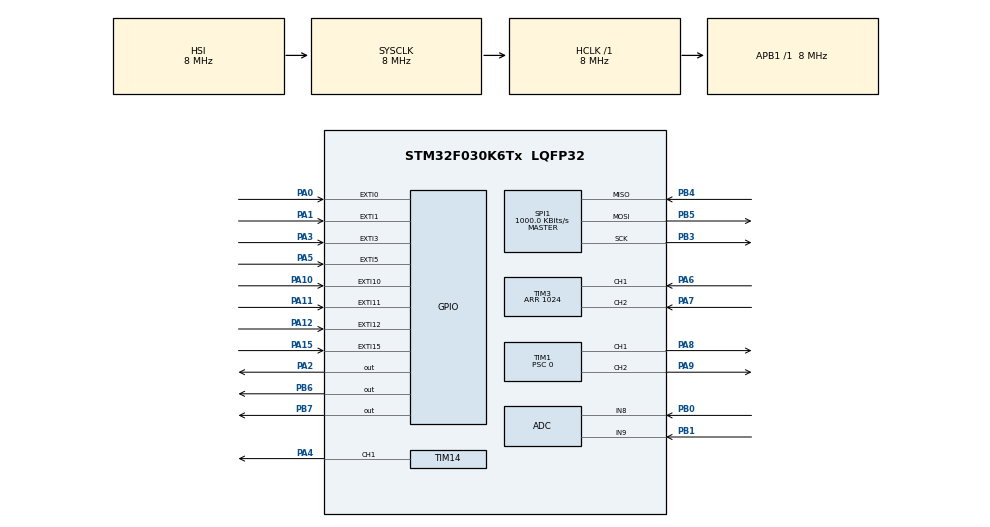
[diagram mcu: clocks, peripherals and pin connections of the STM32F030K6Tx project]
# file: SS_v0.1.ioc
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ADC.ContinuousConvMode=DISABLE
ADC.DiscontinuousConvMode=DISABLE
ADC.SamplingTime=ADC_SAMPLETIME_71CYCLES_5
Dma.ADC.0.Direction=DMA_PERIPH_TO_MEMORY
Dma.ADC.0.Instance=DMA1_Channel1
Dma.ADC.0.MemDataAlignment=DMA_MDATAALIGN_WORD
Dma.ADC.0.MemInc=DMA_MINC_ENABLE
Dma.ADC.0.Mode=DMA_NORMAL
Dma.ADC.0.PeriphDataAlignment=DMA_PDATAALIGN_WORD
Dma.ADC.0.PeriphInc=DMA_PINC_DISABLE
Dma.ADC.0.Priority=DMA_PRIORITY_LOW
Dma.Request0=ADC
Mcu.Family=STM32F0
Mcu.Name=STM32F030K6Tx
Mcu.Package=LQFP32
NVIC.DMA1_Channel1_IRQn=true\:0\:0\:false\:false\:true\:false\:true
NVIC.EXTI0_1_IRQn=true\:0\:0\:false\:false\:true\:true\:true
NVIC.EXTI2_3_IRQn=true\:0\:0\:false\:false\:true\:true\:true
NVIC.EXTI4_15_IRQn=true\:0\:0\:false\:false\:true\:true\:true
NVIC.TIM14_IRQn=true\:0\:0\:false\:false\:true\:true\:true
NVIC.TIM1_CC_IRQn=true\:0\:0\:false\:false\:true\:true\:true
PA0.GPIO_ModeDefaultEXTI=GPIO_MODE_IT_RISING
PA0.Signal=GPXTI0
PA1.GPIO_PuPd=GPIO_PULLUP
PA1.Signal=GPXTI1
PA10.GPIO_PuPd=GPIO_PULLUP
PA10.Signal=GPXTI10
PA11.Signal=GPXTI11
PA12.Signal=GPXTI12
PA13.Mode=Serial_Wire
PA13.Signal=SYS_SWDIO
PA14.Mode=Serial_Wire
PA14.Signal=SYS_SWCLK
PA15.GPIO_PuPd=GPIO_PULLUP
PA15.Signal=GPXTI15
PA2.Signal=GPIO_Output
PA3.Signal=GPXTI3
PA4.Signal=S_TIM14_CH1
PA5.Signal=GPXTI5
PA6.Signal=S_TIM3_CH1
PA7.Signal=S_TIM3_CH2
PA8.Signal=S_TIM1_CH1
PA9.Signal=S_TIM1_CH2
PB0.Mode=IN8
PB0.Signal=ADC_IN8
PB1.Mode=IN9
PB1.Signal=ADC_IN9
PB3.Mode=Full_Duplex_Master
PB3.Signal=SPI1_SCK
PB4.Mode=Full_Duplex_Master
PB4.Signal=SPI1_MISO
PB5.Mode=Full_Duplex_Master
PB5.Signal=SPI1_MOSI
PB6.Signal=GPIO_Output
PB7.Signal=GPIO_Output
PF0-OSC_IN.Mode=HSE-External-Oscillator
PF0-OSC_IN.Signal=RCC_OSC_IN
PF1-OSC_OUT.Mode=HSE-External-Oscillator
PF1-OSC_OUT.Signal=RCC_OSC_OUT
ProjectManager.HeapSize=0x200
ProjectManager.StackSize=0x400
ProjectManager.TargetToolchain=TrueSTUDIO
RCC.AHBFreq_Value=8000000
RCC.APB1Freq_Value=8000000
RCC.APB1TimFreq_Value=8000000
RCC.HCLKFreq_Value=8000000
RCC.PLLSourceVirtual=RCC_PLLSOURCE_HSE
RCC.SYSCLKFreq_VALUE=8000000
SH.S_TIM14_CH1.0=TIM14_CH1,PWM Generation1 CH1
SH.S_TIM1_CH1.0=TIM1_CH1,PWM Generation1 CH1
SH.S_TIM1_CH2.0=TIM1_CH2,PWM Generation2 CH2
SH.S_TIM3_CH1.0=TIM3_CH1,Encoder_Interface
SH.S_TIM3_CH2.0=TIM3_CH2,Encoder_Interface
SPI1.BaudRatePrescaler=SPI_BAUDRATEPRESCALER_8
SPI1.CLKPhase=SPI_PHASE_2EDGE
SPI1.CalculateBaudRate=1000.0 KBits/s
SPI1.DataSize=SPI_DATASIZE_8BIT
SPI1.Direction=SPI_DIRECTION_2LINES
SPI1.Mode=SPI_MODE_MASTER
SPI1.VirtualType=VM_MASTER
TIM1.Channel-PWM\ Generation1\ CH1=TIM_CHANNEL_1
TIM1.Channel-PWM\ Generation2\ CH2=TIM_CHANNEL_2
TIM1.Channel-PWM\ Generation3\ No\ Output=TIM_CHANNEL_3
TIM1.ClockDivision=TIM_CLOCKDIVISION_DIV4
TIM1.Period=20000
TIM1.Prescaler=0
TIM1.Pulse-PWM\ Generation1\ CH1=10000
TIM1.Pulse-PWM\ Generation2\ CH2=10000
TIM14.Channel=TIM_CHANNEL_1
TIM14.ClockDivision=TIM_CLOCKDIVISION_DIV1
TIM14.OCMode_PWM=TIM_OCMODE_PWM2
TIM14.Period=20000
TIM14.Prescaler=4
TIM14.Pulse=10
TIM3.Period=1024
VP_ADC_TempSens_Input.Mode=IN-TempSens
VP_RTC_VS_RTC_Activate.Mode=RTC_Enabled
VP_RTC_VS_RTC_Calendar.Mode=RTC_Calendar
VP_TIM14_VS_ClockSourceINT.Mode=Enable_Timer
VP_TIM14_VS_OPM.Mode=OPM_bit
VP_TIM1_VS_no_output3.Mode=PWM Generation3 No Output
board=custom

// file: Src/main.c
/* USER CODE BEGIN Header */
/**
  ******************************************************************************
  * @file           : main.c
  * @brief          : Main program body
  ******************************************************************************
  ** This notice applies to any and all portions of this file
  * that are not between comment pairs USER CODE BEGIN and
  * USER CODE END. Other portions of this file, whether
  * inserted by the user or by software development tools
  * are owned by their respective copyright owners.
  *
  * COPYRIGHT(c) 2019 STMicroelectronics
  *
  * Redistribution and use in source and binary forms, with or without modification,
  * are permitted provided that the following conditions are met:
  *   1. Redistributions of source code must retain the above copyright notice,
  *      this list of conditions and the following disclaimer.
  *   2. Redistributions in binary form must reproduce the above copyright notice,
  *      this list of conditions and the following disclaimer in the documentation
  *      and/or other materials provided with the distribution.
  *   3. Neither the name of STMicroelectronics nor the names of its contributors
  *      may be used to endorse or promote products derived from this software
  *      without specific prior written permission.
  *
  * THIS SOFTWARE IS PROVIDED BY THE COPYRIGHT HOLDERS AND CONTRIBUTORS "AS IS"
  * AND ANY EXPRESS OR IMPLIED WARRANTIES, INCLUDING, BUT NOT LIMITED TO, THE
  * IMPLIED WARRANTIES OF MERCHANTABILITY AND FITNESS FOR A PARTICULAR PURPOSE ARE
  * DISCLAIMED. IN NO EVENT SHALL THE COPYRIGHT HOLDER OR CONTRIBUTORS BE LIABLE
  * FOR ANY DIRECT, INDIRECT, INCIDENTAL, SPECIAL, EXEMPLARY, OR CONSEQUENTIAL
  * DAMAGES (INCLUDING, BUT NOT LIMITED TO, PROCUREMENT OF SUBSTITUTE GOODS OR
  * SERVICES; LOSS OF USE, DATA, OR PROFITS; OR BUSINESS INTERRUPTION) HOWEVER
  * CAUSED AND ON ANY THEORY OF LIABILITY, WHETHER IN CONTRACT, STRICT LIABILITY,
  * OR TORT (INCLUDING NEGLIGENCE OR OTHERWISE) ARISING IN ANY WAY OUT OF THE USE
  * OF THIS SOFTWARE, EVEN IF ADVISED OF THE POSSIBILITY OF SUCH DAMAGE.
  *
  ******************************************************************************
  */
/* USER CODE END Header */

#include "main.h"

/* USER CODE BEGIN Includes */
//#include <st7920.h>
//#include "arm_math.h"
#include "pid.h"
#include "encoder.h"
#include "RTCfunc.h"
#include <U8g2.h>
#include <u8g2_arm.h>
#include <stdlib.h>
/* USER CODE END Includes */

/* USER CODE BEGIN PD */
#define		debug				1

#define		ZCD_Pin				GPIO_PIN_3
#define		FenRelePort			GPIOA
#define		FenRelePin			GPIO_PIN_2

#define		DimmerTim			htim14
#define		DimmerTimCh			TIM_CHANNEL_1
#define		FenFanPWM_T			htim1
#define		FenFanPWM_ch		TIM_CHANNEL_2
#define		SolderPWM_T			htim1
#define		SolderPWM_ch		TIM_CHANNEL_1

#define		EncoderTimer		htim3
#define		EncoderButton_Port	GPIOA
#define		EncoderButton_Pin	GPIO_PIN_5

#define		Gerkon_Port			GPIOA
#define		Gerkon_Pin			GPIO_PIN_12
#define		Button1_Pin			GPIO_PIN_10
#define		Button2_Pin			GPIO_PIN_1
#define		Button3_Pin			GPIO_PIN_15
#define		RollBall_Pin		GPIO_PIN_0
#define 	Lcd_CS				GPIOB, GPIO_PIN_6

//#define		SolderMod			0
//#define		FenMod				1
//#define		FenFanMod			2
#define		Off					0
#define		On					1

/* USER CODE END PD */

ADC_HandleTypeDef hadc;
DMA_HandleTypeDef hdma_adc;

RTC_HandleTypeDef hrtc;

SPI_HandleTypeDef hspi1;

TIM_HandleTypeDef htim1;
TIM_HandleTypeDef htim3;
TIM_HandleTypeDef htim14;

/* USER CODE BEGIN PV */
u8g2_t u8g2;
EncoderTypeDef enc0;
RTC_TimePointTypeDef Point[4]={0};

typedef enum
{
	OFF = 0U,
    ON
}StateType;

typedef enum {
	SolderMod,
	FenMod,
	FenFanMod,
	SpecMod
}WorkModType ,WorkMod1;
typedef struct
{
	uint16_t		Nadc[16];
	//uint16_t		Uadc[16];			//millivolts from ADC
	uint16_t		Text[16];			//from external measurementp;

}ThermocoupleCalibrationTypeDef;

ThermocoupleCalibrationTypeDef	ThermocoupleProfile[8];

#define		RollBall_IE	0x01
#define		Gerkon_IE	0x10

struct {
	//0000 0001		solder 	RollBall
	//0001 0000		fen 	Gerkon
	uint8_t		IE;
	WorkModType WorkMod;
	uint8_t		Step;
	uint8_t		MoveDetect;
	ThermocoupleCalibrationTypeDef	*ThermocoupleProfile;
	int32_t 	CPUtemperature;
}Station;

uint8_t	Profile;
int16_t SMtemp;

typedef struct
{
	uint8_t 			Status;
	uint8_t				GerkonStatus;
	uint8_t				DimerStatus;
	uint16_t 			DimmerValue;
	uint8_t 			T_Measured;
	int16_t 			T_Set;
	uint16_t			T_Max;
	uint8_t 			T_Min;
	uint8_t 			T_FanOff;
	uint8_t 			MaxPower;			//Max power limit, [%]
	uint16_t 			CalibrPoint0;
	uint16_t 			CalibrPoint1;
	uint8_t				error;
	TIM_HandleTypeDef	*htim;
	uint32_t 			Channel;
}ChannelTypeDef;

typedef struct
{
	uint8_t 			Status;
	int16_t 			P_Set;
	uint8_t				P_Max;
	uint8_t 			P_Min;
	uint8_t				error;
	TIM_HandleTypeDef	*htim;
	uint32_t 			Channel;
	uint16_t			FanStep;
}FanTypeDef;

typedef struct
{
	uint8_t 			Status;
	uint8_t 			T_Measured;
	int16_t 			T_Set;
	uint16_t			T_Max;
	uint8_t 			T_Min;
	uint8_t				error;
	TIM_HandleTypeDef	*htim;
	uint32_t 			Channel;
	uint8_t				MaxPower;
}SolderTypeDef;

SolderTypeDef 	Solder;
ChannelTypeDef 	Fen;
FanTypeDef 		FenFan;

struct
{
	uint32_t		buffer[30];
	uint8_t			bufferCaunt;
	float			step;
	uint32_t		Sfen;
	uint32_t		Ssolder;
	uint32_t		Ssensor;

}ADCData;

//int16_t T_Fen_Set=0;
//int16_t T_Solder_Set=0;
//int16_t FenFanSpid=0;
//
//uint8_t SolderTMin = 0;			//C
//uint16_t SolderTMax = 350;		//C
//uint8_t FenTMin = 0;			//C
//uint16_t FenTMax = 450;			//C
//uint8_t FenFanSpidMin = 0; 	//%
//uint8_t FenFanSpidMax = 100;	//%
//uint8_t Step = 5;
//uint16_t FanStep = 0;

//uint8_t 	WorkMod =0;

//uint16_t 	DimmerValue=0;
//uint8_t 	FenStatus = 0;
//uint8_t 	FenFanStatus =0,
uint8_t	FanSpeedMax=3,FanOff=0;
//uint16_t 	testValue=0;
uint8_t		CountForButton = 0;

//uint16_t 	adc_value[3];
//uint16_t 	Tsrns;
//float 		adc_step=3.3/4095;
//uint16_t	tempArr[256],calibr[30];
//uint8_t		i = 0;
//uint8_t		EncoderButtonPushed = 0;
//uint8_t		CalibrCount;

uint8_t DispleiMod =0;
char buffer[12];
uint16_t i=250 ,x=120, y=0;
/* USER CODE END PV */

void SystemClock_Config(void);
static void MX_GPIO_Init(void);
static void MX_DMA_Init(void);
static void MX_ADC_Init(void);
static void MX_TIM1_Init(void);
static void MX_TIM3_Init(void);
static void MX_TIM14_Init(void);
static void MX_SPI1_Init(void);
static void MX_RTC_Init(void);
/* USER CODE BEGIN PFP */
void SetValue(int16_t T);
void PID_Fen();
void PID_Solder();
void DimmerControl(ChannelTypeDef* ChStrct);
void ZCD_Handler();
void test();
void SolderControl(SolderTypeDef* solder);
//uint16_t TimePointCompare(RTC_TimePointTypeDef *point0, RTC_TimePointTypeDef *point1);
void FanControl(uint8_t status);

void StationConfig ();
void ErrorControl();
uint16_t temp01();
void Srednie();
void displaiInit();
void MoweDetect();
void InactivityDetect ();
void adc_to_t();
/* USER CODE END PFP */

int main(void)
{

  /* MCU Configuration--------------------------------------------------------*/

  /* Reset of all peripherals, Initializes the Flash interface and the Systick. */
  HAL_Init();

  /* Configure the system clock */
  SystemClock_Config();

  /* Initialize all configured peripherals */
  MX_GPIO_Init();
  MX_DMA_Init();
  MX_ADC_Init();
  MX_TIM1_Init();
  MX_TIM3_Init();
  MX_TIM14_Init();
  MX_SPI1_Init();
  MX_RTC_Init();
  /* USER CODE BEGIN 2 */
//lcd init
  StationConfig ();

  u8g2_SPI_Set(&hspi1, Lcd_CS);
  u8g2_Setup_st7920_s_128x64_2(&u8g2, U8G2_R0, u8xx_byte_hw_spi, u8xx_stm32_gpio_and_delay);
  u8g2_InitDisplay(&u8g2);
//
  HAL_TIM_Encoder_Start_IT(&htim3,TIM_CHANNEL_ALL);	//start timet in encoder mod + intrrupt
  HAL_TIM_PWM_Start_IT(&SolderPWM_T, TIM_CHANNEL_3);
  //arm_pid_f32();

  /* USER CODE END 2 */

  /* Infinite loop */
  while (1)
  {

    /* USER CODE BEGIN 3 */
	  //ErrorControl();
	  SetValue(encoder(&enc0) * Station.Step);
	  if(enc0.Difference != 0)
		  MoweDetect();
	  InactivityDetect ();

	  if(Station.WorkMod != SpecMod) test();
	  adc_to_t();
	  displaiInit();

  }
  /* USER CODE END 3 */
}

void SystemClock_Config(void)
{
  RCC_OscInitTypeDef RCC_OscInitStruct = {0};
  RCC_ClkInitTypeDef RCC_ClkInitStruct = {0};
  RCC_PeriphCLKInitTypeDef PeriphClkInit = {0};

  /** Initializes the CPU, AHB and APB busses clocks
  */
  RCC_OscInitStruct.OscillatorType = RCC_OSCILLATORTYPE_HSI|RCC_OSCILLATORTYPE_HSI14
                              |RCC_OSCILLATORTYPE_LSI;
  RCC_OscInitStruct.HSIState = RCC_HSI_ON;
  RCC_OscInitStruct.HSI14State = RCC_HSI14_ON;
  RCC_OscInitStruct.HSICalibrationValue = RCC_HSICALIBRATION_DEFAULT;
  RCC_OscInitStruct.HSI14CalibrationValue = 16;
  RCC_OscInitStruct.LSIState = RCC_LSI_ON;
  RCC_OscInitStruct.PLL.PLLState = RCC_PLL_NONE;
  if (HAL_RCC_OscConfig(&RCC_OscInitStruct) != HAL_OK)
  {
    Error_Handler();
  }
  /** Initializes the CPU, AHB and APB busses clocks
  */
  RCC_ClkInitStruct.ClockType = RCC_CLOCKTYPE_HCLK|RCC_CLOCKTYPE_SYSCLK
                              |RCC_CLOCKTYPE_PCLK1;
  RCC_ClkInitStruct.SYSCLKSource = RCC_SYSCLKSOURCE_HSI;
  RCC_ClkInitStruct.AHBCLKDivider = RCC_SYSCLK_DIV1;
  RCC_ClkInitStruct.APB1CLKDivider = RCC_HCLK_DIV1;

  if (HAL_RCC_ClockConfig(&RCC_ClkInitStruct, FLASH_LATENCY_0) != HAL_OK)
  {
    Error_Handler();
  }
  PeriphClkInit.PeriphClockSelection = RCC_PERIPHCLK_RTC;
  PeriphClkInit.RTCClockSelection = RCC_RTCCLKSOURCE_LSI;
  if (HAL_RCCEx_PeriphCLKConfig(&PeriphClkInit) != HAL_OK)
  {
    Error_Handler();
  }
}

static void MX_ADC_Init(void)
{

  ADC_ChannelConfTypeDef sConfig = {0};

  /** Configure the global features of the ADC (Clock, Resolution, Data Alignment and number of conversion)
  */
  hadc.Instance = ADC1;
  hadc.Init.ClockPrescaler = ADC_CLOCK_ASYNC_DIV1;
  hadc.Init.Resolution = ADC_RESOLUTION_12B;
  hadc.Init.DataAlign = ADC_DATAALIGN_RIGHT;
  hadc.Init.ScanConvMode = ADC_SCAN_DIRECTION_FORWARD;
  hadc.Init.EOCSelection = ADC_EOC_SINGLE_CONV;
  hadc.Init.LowPowerAutoWait = DISABLE;
  hadc.Init.LowPowerAutoPowerOff = DISABLE;
  hadc.Init.ContinuousConvMode = DISABLE;
  hadc.Init.DiscontinuousConvMode = DISABLE;
  hadc.Init.ExternalTrigConv = ADC_SOFTWARE_START;
  hadc.Init.ExternalTrigConvEdge = ADC_EXTERNALTRIGCONVEDGE_NONE;
  hadc.Init.DMAContinuousRequests = DISABLE;
  hadc.Init.Overrun = ADC_OVR_DATA_PRESERVED;
  if (HAL_ADC_Init(&hadc) != HAL_OK)
  {
    Error_Handler();
  }
  /** Configure for the selected ADC regular channel to be converted.
  */
  sConfig.Channel = ADC_CHANNEL_8;
  sConfig.Rank = ADC_RANK_CHANNEL_NUMBER;
  sConfig.SamplingTime = ADC_SAMPLETIME_71CYCLES_5;
  if (HAL_ADC_ConfigChannel(&hadc, &sConfig) != HAL_OK)
  {
    Error_Handler();
  }
  /** Configure for the selected ADC regular channel to be converted.
  */
  sConfig.Channel = ADC_CHANNEL_9;
  if (HAL_ADC_ConfigChannel(&hadc, &sConfig) != HAL_OK)
  {
    Error_Handler();
  }
  /** Configure for the selected ADC regular channel to be converted.
  */
  sConfig.Channel = ADC_CHANNEL_TEMPSENSOR;
  if (HAL_ADC_ConfigChannel(&hadc, &sConfig) != HAL_OK)
  {
    Error_Handler();
  }

}

static void MX_RTC_Init(void)
{

  RTC_TimeTypeDef sTime = {0};
  RTC_DateTypeDef sDate = {0};

  /** Initialize RTC Only
  */
  hrtc.Instance = RTC;
  hrtc.Init.HourFormat = RTC_HOURFORMAT_24;
  hrtc.Init.AsynchPrediv = 127;
  hrtc.Init.SynchPrediv = 255;
  hrtc.Init.OutPut = RTC_OUTPUT_DISABLE;
  hrtc.Init.OutPutPolarity = RTC_OUTPUT_POLARITY_HIGH;
  hrtc.Init.OutPutType = RTC_OUTPUT_TYPE_OPENDRAIN;
  if (HAL_RTC_Init(&hrtc) != HAL_OK)
  {
    Error_Handler();
  }

  /** Initialize RTC and set the Time and Date
  */
  sTime.Hours = 0x0;
  sTime.Minutes = 0x0;
  sTime.Seconds = 0x0;
  sTime.DayLightSaving = RTC_DAYLIGHTSAVING_NONE;
  sTime.StoreOperation = RTC_STOREOPERATION_RESET;
  if (HAL_RTC_SetTime(&hrtc, &sTime, RTC_FORMAT_BCD) != HAL_OK)
  {
    Error_Handler();
  }
  sDate.WeekDay = RTC_WEEKDAY_MONDAY;
  sDate.Month = RTC_MONTH_JANUARY;
  sDate.Date = 0x1;
  sDate.Year = 0x0;

  if (HAL_RTC_SetDate(&hrtc, &sDate, RTC_FORMAT_BCD) != HAL_OK)
  {
    Error_Handler();
  }

}

static void MX_SPI1_Init(void)
{

  /* SPI1 parameter configuration*/
  hspi1.Instance = SPI1;
  hspi1.Init.Mode = SPI_MODE_MASTER;
  hspi1.Init.Direction = SPI_DIRECTION_2LINES;
  hspi1.Init.DataSize = SPI_DATASIZE_8BIT;
  hspi1.Init.CLKPolarity = SPI_POLARITY_LOW;
  hspi1.Init.CLKPhase = SPI_PHASE_2EDGE;
  hspi1.Init.NSS = SPI_NSS_SOFT;
  hspi1.Init.BaudRatePrescaler = SPI_BAUDRATEPRESCALER_8;
  hspi1.Init.FirstBit = SPI_FIRSTBIT_MSB;
  hspi1.Init.TIMode = SPI_TIMODE_DISABLE;
  hspi1.Init.CRCCalculation = SPI_CRCCALCULATION_DISABLE;
  hspi1.Init.CRCPolynomial = 7;
  hspi1.Init.CRCLength = SPI_CRC_LENGTH_DATASIZE;
  hspi1.Init.NSSPMode = SPI_NSS_PULSE_DISABLE;
  if (HAL_SPI_Init(&hspi1) != HAL_OK)
  {
    Error_Handler();
  }

}

static void MX_TIM1_Init(void)
{

  TIM_MasterConfigTypeDef sMasterConfig = {0};
  TIM_OC_InitTypeDef sConfigOC = {0};
  TIM_BreakDeadTimeConfigTypeDef sBreakDeadTimeConfig = {0};

  htim1.Instance = TIM1;
  htim1.Init.Prescaler = 0;
  htim1.Init.CounterMode = TIM_COUNTERMODE_UP;
  htim1.Init.Period = 20000;
  htim1.Init.ClockDivision = TIM_CLOCKDIVISION_DIV4;
  htim1.Init.RepetitionCounter = 0;
  htim1.Init.AutoReloadPreload = TIM_AUTORELOAD_PRELOAD_DISABLE;
  if (HAL_TIM_PWM_Init(&htim1) != HAL_OK)
  {
    Error_Handler();
  }
  sMasterConfig.MasterOutputTrigger = TIM_TRGO_RESET;
  sMasterConfig.MasterSlaveMode = TIM_MASTERSLAVEMODE_DISABLE;
  if (HAL_TIMEx_MasterConfigSynchronization(&htim1, &sMasterConfig) != HAL_OK)
  {
    Error_Handler();
  }
  sConfigOC.OCMode = TIM_OCMODE_PWM1;
  sConfigOC.Pulse = 10000;
  sConfigOC.OCPolarity = TIM_OCPOLARITY_HIGH;
  sConfigOC.OCNPolarity = TIM_OCNPOLARITY_HIGH;
  sConfigOC.OCFastMode = TIM_OCFAST_DISABLE;
  sConfigOC.OCIdleState = TIM_OCIDLESTATE_RESET;
  sConfigOC.OCNIdleState = TIM_OCNIDLESTATE_RESET;
  if (HAL_TIM_PWM_ConfigChannel(&htim1, &sConfigOC, TIM_CHANNEL_1) != HAL_OK)
  {
    Error_Handler();
  }
  if (HAL_TIM_PWM_ConfigChannel(&htim1, &sConfigOC, TIM_CHANNEL_2) != HAL_OK)
  {
    Error_Handler();
  }
  sConfigOC.Pulse = 0;
  if (HAL_TIM_PWM_ConfigChannel(&htim1, &sConfigOC, TIM_CHANNEL_3) != HAL_OK)
  {
    Error_Handler();
  }
  sBreakDeadTimeConfig.OffStateRunMode = TIM_OSSR_DISABLE;
  sBreakDeadTimeConfig.OffStateIDLEMode = TIM_OSSI_DISABLE;
  sBreakDeadTimeConfig.LockLevel = TIM_LOCKLEVEL_OFF;
  sBreakDeadTimeConfig.DeadTime = 0;
  sBreakDeadTimeConfig.BreakState = TIM_BREAK_DISABLE;
  sBreakDeadTimeConfig.BreakPolarity = TIM_BREAKPOLARITY_HIGH;
  sBreakDeadTimeConfig.AutomaticOutput = TIM_AUTOMATICOUTPUT_DISABLE;
  if (HAL_TIMEx_ConfigBreakDeadTime(&htim1, &sBreakDeadTimeConfig) != HAL_OK)
  {
    Error_Handler();
  }
  HAL_TIM_MspPostInit(&htim1);

}

static void MX_TIM3_Init(void)
{

  TIM_Encoder_InitTypeDef sConfig = {0};
  TIM_MasterConfigTypeDef sMasterConfig = {0};

  htim3.Instance = TIM3;
  htim3.Init.Prescaler = 0;
  htim3.Init.CounterMode = TIM_COUNTERMODE_UP;
  htim3.Init.Period = 1024;
  htim3.Init.ClockDivision = TIM_CLOCKDIVISION_DIV1;
  htim3.Init.AutoReloadPreload = TIM_AUTORELOAD_PRELOAD_DISABLE;
  sConfig.EncoderMode = TIM_ENCODERMODE_TI1;
  sConfig.IC1Polarity = TIM_ICPOLARITY_RISING;
  sConfig.IC1Selection = TIM_ICSELECTION_DIRECTTI;
  sConfig.IC1Prescaler = TIM_ICPSC_DIV1;
  sConfig.IC1Filter = 0;
  sConfig.IC2Polarity = TIM_ICPOLARITY_RISING;
  sConfig.IC2Selection = TIM_ICSELECTION_DIRECTTI;
  sConfig.IC2Prescaler = TIM_ICPSC_DIV1;
  sConfig.IC2Filter = 0;
  if (HAL_TIM_Encoder_Init(&htim3, &sConfig) != HAL_OK)
  {
    Error_Handler();
  }
  sMasterConfig.MasterOutputTrigger = TIM_TRGO_RESET;
  sMasterConfig.MasterSlaveMode = TIM_MASTERSLAVEMODE_DISABLE;
  if (HAL_TIMEx_MasterConfigSynchronization(&htim3, &sMasterConfig) != HAL_OK)
  {
    Error_Handler();
  }

}

static void MX_TIM14_Init(void)
{

  TIM_OC_InitTypeDef sConfigOC = {0};

  htim14.Instance = TIM14;
  htim14.Init.Prescaler = 4;
  htim14.Init.CounterMode = TIM_COUNTERMODE_UP;
  htim14.Init.Period = 20000;
  htim14.Init.ClockDivision = TIM_CLOCKDIVISION_DIV1;
  htim14.Init.AutoReloadPreload = TIM_AUTORELOAD_PRELOAD_DISABLE;
  if (HAL_TIM_Base_Init(&htim14) != HAL_OK)
  {
    Error_Handler();
  }
  if (HAL_TIM_PWM_Init(&htim14) != HAL_OK)
  {
    Error_Handler();
  }
  if (HAL_TIM_OnePulse_Init(&htim14, TIM_OPMODE_SINGLE) != HAL_OK)
  {
    Error_Handler();
  }
  sConfigOC.OCMode = TIM_OCMODE_PWM2;
  sConfigOC.Pulse = 10;
  sConfigOC.OCPolarity = TIM_OCPOLARITY_HIGH;
  sConfigOC.OCFastMode = TIM_OCFAST_DISABLE;
  if (HAL_TIM_PWM_ConfigChannel(&htim14, &sConfigOC, TIM_CHANNEL_1) != HAL_OK)
  {
    Error_Handler();
  }
  HAL_TIM_MspPostInit(&htim14);

}

static void MX_DMA_Init(void)
{
  /* DMA controller clock enable */
  __HAL_RCC_DMA1_CLK_ENABLE();

  /* DMA interrupt init */
  /* DMA1_Channel1_IRQn interrupt configuration */
  HAL_NVIC_SetPriority(DMA1_Channel1_IRQn, 0, 0);
  HAL_NVIC_EnableIRQ(DMA1_Channel1_IRQn);

}

static void MX_GPIO_Init(void)
{
  GPIO_InitTypeDef GPIO_InitStruct = {0};

  /* GPIO Ports Clock Enable */
  __HAL_RCC_GPIOF_CLK_ENABLE();
  __HAL_RCC_GPIOA_CLK_ENABLE();
  __HAL_RCC_GPIOB_CLK_ENABLE();

  /*Configure GPIO pin Output Level */
  HAL_GPIO_WritePin(GPIOA, GPIO_PIN_2, GPIO_PIN_RESET);

  /*Configure GPIO pin Output Level */
  HAL_GPIO_WritePin(GPIOB, GPIO_PIN_6|GPIO_PIN_7, GPIO_PIN_RESET);

  /*Configure GPIO pins : PA0 PA3 PA5 PA11
                           PA12 */
  GPIO_InitStruct.Pin = GPIO_PIN_0|GPIO_PIN_3|GPIO_PIN_5|GPIO_PIN_11
                          |GPIO_PIN_12;
  GPIO_InitStruct.Mode = GPIO_MODE_IT_RISING;
  GPIO_InitStruct.Pull = GPIO_NOPULL;
  HAL_GPIO_Init(GPIOA, &GPIO_InitStruct);

  /*Configure GPIO pins : PA1 PA10 PA15 */
  GPIO_InitStruct.Pin = GPIO_PIN_1|GPIO_PIN_10|GPIO_PIN_15;
  GPIO_InitStruct.Mode = GPIO_MODE_IT_RISING;
  GPIO_InitStruct.Pull = GPIO_PULLUP;
  HAL_GPIO_Init(GPIOA, &GPIO_InitStruct);

  /*Configure GPIO pin : PA2 */
  GPIO_InitStruct.Pin = GPIO_PIN_2;
  GPIO_InitStruct.Mode = GPIO_MODE_OUTPUT_PP;
  GPIO_InitStruct.Pull = GPIO_NOPULL;
  GPIO_InitStruct.Speed = GPIO_SPEED_FREQ_LOW;
  HAL_GPIO_Init(GPIOA, &GPIO_InitStruct);

  /*Configure GPIO pins : PB6 PB7 */
  GPIO_InitStruct.Pin = GPIO_PIN_6|GPIO_PIN_7;
  GPIO_InitStruct.Mode = GPIO_MODE_OUTPUT_PP;
  GPIO_InitStruct.Pull = GPIO_NOPULL;
  GPIO_InitStruct.Speed = GPIO_SPEED_FREQ_LOW;
  HAL_GPIO_Init(GPIOB, &GPIO_InitStruct);

  /* EXTI interrupt init*/
  HAL_NVIC_SetPriority(EXTI0_1_IRQn, 0, 0);
  HAL_NVIC_EnableIRQ(EXTI0_1_IRQn);

  HAL_NVIC_SetPriority(EXTI2_3_IRQn, 0, 0);
  HAL_NVIC_EnableIRQ(EXTI2_3_IRQn);

  HAL_NVIC_SetPriority(EXTI4_15_IRQn, 0, 0);
  HAL_NVIC_EnableIRQ(EXTI4_15_IRQn);

}

/* USER CODE BEGIN 4 */

void displaiInit (){

	//utoa(i, buffer, 10);

    u8g2_FirstPage(&u8g2);
    do
    {
/*
    	u8g2_DrawFrame(&u8g2, 1, 5, 5, 3);
    	u8g2_DrawFrame(&u8g2, 7, 4, 7, 4);
    	u8g2_DrawFrame(&u8g2, 16, 3, 9, 5);
    	u8g2_DrawFrame(&u8g2, 27, 3, 11, 5);
    	u8g2_DrawFrame(&u8g2, 40, 2, 13, 6);
    	u8g2_DrawFrame(&u8g2, 55, 2, 15, 6);
    	u8g2_DrawFrame(&u8g2, 72, 1, 17, 7);
    	u8g2_DrawFrame(&u8g2, 91, 1, 19, 7);
    	u8g2_DrawFrame(&u8g2, 111, 0, 21, 8);
*/
    	u8g2_DrawTriangle(&u8g2, 1, 10, x, 10, x, y);

		u8g2_DrawHLine(&u8g2, 0, 10, 128);

		u8g2_DrawLine(&u8g2, 0, 43, 6, 64);
		u8g2_DrawLine(&u8g2, 42, 43, 36, 64);
		u8g2_DrawLine(&u8g2, 6, 63, 36, 63);

		u8g2_DrawLine(&u8g2, 42, 43, 48, 63);
		u8g2_DrawLine(&u8g2, 85, 43, 79, 63);
		u8g2_DrawLine(&u8g2, 48, 63, 79, 63);

		u8g2_DrawLine(&u8g2, 85, 44, 91, 63);
		u8g2_DrawLine(&u8g2, 127, 44, 121, 63);
		u8g2_DrawLine(&u8g2, 91, 63, 121, 63);

		u8g2_SetFont(&u8g2, u8g2_font_ncenB08_tr);
		u8g2_DrawStr(&u8g2, 5, 53, "Solder");
		utoa(Solder.T_Measured, buffer, 10);
		u8g2_DrawStr(&u8g2, 12, 63, buffer);
		u8g2_DrawStr(&u8g2, 54, 53, "Fen");
		utoa(Fen.T_Measured, buffer, 10);
		u8g2_DrawStr(&u8g2, 54, 63, buffer);
		u8g2_DrawStr(&u8g2, 98, 53, "Fan");
		utoa(FenFan.P_Set, buffer, 10);
		u8g2_DrawStr(&u8g2, 98, 63, buffer);
		u8g2_DrawUTF8(&u8g2, 110, 63, "%");
//		u8g2_SetFont(&u8g2, u8g2_font_unifont_t_symbols);
		u8g2_DrawUTF8(&u8g2, 29, 60, "°");
		u8g2_DrawUTF8(&u8g2, 71, 68, "°");
//---------------------------------------------------------------------------
		if (Solder.error || Fen.error || FenFan.error){
			u8g2_SetFont(&u8g2, u8g2_font_ncenB08_tr);
			if (Solder.error){
				u8g2_DrawStr(&u8g2, 35, 19, "Solder error");
			}
			if (Fen.error){
				u8g2_DrawStr(&u8g2, 35, 29, "Fen error");
			}
			if (FenFan.error){
				u8g2_DrawStr(&u8g2, 35, 39, "FenFan error");
			}
		}else{
			switch (DispleiMod){
			case 0:
				if(Solder.Status && Fen.Status){
					switch (Station.WorkMod){
					case SolderMod:
						u8g2_DrawHLine(&u8g2, 42, 43, 44);
						u8g2_DrawHLine(&u8g2, 85, 43, 42);
						u8g2_SetFont(&u8g2, u8g2_font_ncenB24_tr);
						utoa(Solder.T_Measured, buffer, 10);
						u8g2_DrawStr(&u8g2, 5, 39, buffer);
						u8g2_DrawCircle(&u8g2, 64, 14, 2, U8G2_DRAW_ALL);
						u8g2_SetFont(&u8g2, u8g2_font_ncenB18_tr);
						utoa(Fen.T_Measured, buffer, 10);
						u8g2_DrawStr(&u8g2, 70, 39, buffer);
						u8g2_DrawCircle(&u8g2, 115, 20, 2, U8G2_DRAW_ALL);
						break;
					case FenMod:
						u8g2_DrawHLine(&u8g2, 85, 43, 42);
					case FenFanMod:
						u8g2_DrawHLine(&u8g2, 0, 43, 42);
						if(Station.WorkMod == FenFanMod)
							u8g2_DrawHLine(&u8g2, 42, 43, 44);
						u8g2_SetFont(&u8g2, u8g2_font_ncenB18_tr);
						utoa(Solder.T_Measured, buffer, 10);
						u8g2_DrawStr(&u8g2, 5, 39, buffer);
						u8g2_DrawCircle(&u8g2, 50, 20, 2, U8G2_DRAW_ALL);
						u8g2_SetFont(&u8g2, u8g2_font_ncenB24_tr);
						utoa(Fen.T_Measured, buffer, 10);
						u8g2_DrawStr(&u8g2, 60, 39, buffer);
						u8g2_DrawCircle(&u8g2, 119, 14, 2, U8G2_DRAW_ALL);
						break;
					case SpecMod:
						break;

					}

				}else{
					u8g2_DrawCircle(&u8g2, 95, 14, 2, U8G2_DRAW_ALL);
					switch (Station.WorkMod){
					case SolderMod:
						u8g2_DrawHLine(&u8g2, 42, 43, 44);
						u8g2_DrawHLine(&u8g2, 85, 43, 42);
						u8g2_SetFont(&u8g2, u8g2_font_ncenB24_tr);
						utoa(Solder.T_Measured, buffer, 10);
						u8g2_DrawStr(&u8g2, 35, 39, buffer);
						break;
					case FenMod:
						u8g2_DrawHLine(&u8g2, 85, 43, 42);
					case FenFanMod:
						u8g2_DrawHLine(&u8g2, 0, 43, 42);
						if(Station.WorkMod == FenFanMod)
							u8g2_DrawHLine(&u8g2, 42, 43, 44);
						u8g2_SetFont(&u8g2, u8g2_font_ncenB24_tr);
						utoa(Fen.T_Measured, buffer, 10);
						u8g2_DrawStr(&u8g2, 35, 39, buffer);
						break;
					case SpecMod:
						break;
					}

				}
				break;
			case 1:
				switch (Station.WorkMod){
				case SolderMod:
					u8g2_DrawHLine(&u8g2, 42, 43, 44);
					u8g2_DrawHLine(&u8g2, 85, 43, 42);
					u8g2_SetFont(&u8g2, u8g2_font_ncenB24_tr);
					if (Station.MoveDetect == 1){
						utoa(Solder.T_Set, buffer, 10);
						u8g2_DrawStr(&u8g2, 5, 39, buffer);
						u8g2_SetFont(&u8g2, u8g2_font_ncenB08_tr);
						u8g2_DrawStr(&u8g2, 115, 30, "<");
					}else{
						utoa(Solder.T_Measured, buffer, 10);
						u8g2_DrawStr(&u8g2, 5, 39, buffer);
						u8g2_SetFont(&u8g2, u8g2_font_ncenB08_tr);
						u8g2_DrawStr(&u8g2, 115, 40, "<");
					}
					u8g2_DrawCircle(&u8g2, 64, 14, 2, U8G2_DRAW_ALL);
					u8g2_SetFont(&u8g2, u8g2_font_ncenB08_tr);
					u8g2_DrawStr(&u8g2, 75, 20, (Solder.Status)? "on" : "off");
					u8g2_DrawStr(&u8g2, 75, 30, "Set:");
					utoa(Solder.T_Set, buffer, 10);
					u8g2_DrawStr(&u8g2, 100, 30, buffer);
					u8g2_DrawStr(&u8g2, 75, 40, "Cur:");
					utoa(Solder.T_Measured, buffer, 10);
					u8g2_DrawStr(&u8g2, 100, 40, buffer);
					break;
				case FenMod:
					u8g2_DrawHLine(&u8g2, 0, 43, 42);
					u8g2_DrawHLine(&u8g2, 85, 43, 42);
					u8g2_SetFont(&u8g2, u8g2_font_ncenB24_tr);
					if (Station.MoveDetect == 1){
						utoa(Fen.T_Set, buffer, 10);
						u8g2_DrawStr(&u8g2, 60, 39, buffer);
						u8g2_SetFont(&u8g2, u8g2_font_ncenB08_tr);
						u8g2_DrawStr(&u8g2, 45, 30, "<");
					}else{
						utoa(Fen.T_Measured, buffer, 10);
						u8g2_DrawStr(&u8g2, 60, 39, buffer);
						u8g2_SetFont(&u8g2, u8g2_font_ncenB08_tr);
						u8g2_DrawStr(&u8g2, 45, 40, "<");
					}
					u8g2_DrawCircle(&u8g2, 119, 14, 2, U8G2_DRAW_ALL);
					u8g2_SetFont(&u8g2, u8g2_font_ncenB08_tr);
					u8g2_DrawStr(&u8g2, 5, 20, (Fen.Status)? "on" : "off");
					u8g2_DrawStr(&u8g2, 5, 30, "Set:");
					utoa(Fen.T_Set, buffer, 10);
					u8g2_DrawStr(&u8g2, 30, 30, buffer);
					u8g2_DrawStr(&u8g2, 5, 40, "Cur:");
					utoa(Fen.T_Measured, buffer, 10);
					u8g2_DrawStr(&u8g2, 30, 40, buffer);
					break;
				case FenFanMod:
					u8g2_DrawHLine(&u8g2, 0, 43, 42);
					u8g2_DrawHLine(&u8g2, 42, 43, 44);
					u8g2_SetFont(&u8g2, u8g2_font_ncenB24_tr);
					utoa(FenFan.P_Set, buffer, 10);
					u8g2_DrawStr(&u8g2, 60, 39, buffer);
					u8g2_DrawCircle(&u8g2, 119, 14, 2, U8G2_DRAW_ALL);
					u8g2_SetFont(&u8g2, u8g2_font_ncenB08_tr);
					u8g2_DrawStr(&u8g2, 5, 20, (FenFan.Status)? "on" : "off");
					u8g2_DrawStr(&u8g2, 5, 30, "Set:");
					utoa(FenFan.P_Set, buffer, 10);
					u8g2_DrawStr(&u8g2, 30, 30, buffer);
					//u8g2_DrawStr(&u8g2, 5, 40, "Cur:");
					//u8g2_DrawStr(&u8g2, 30, 40, "250");
					break;
				case SpecMod:
					break;
				}
				break;
			}
		}

    } while (u8g2_NextPage(&u8g2));
}

void StationConfig ()
{
	Station.IE 			&= ~(RollBall_IE + Gerkon_IE);
	Station.Step 		= 1;
	enc0.htim 			= &htim3;
	enc0.HoldButtonTime = 60;

	Solder.htim 		= &htim1;
	Solder.Channel 		= TIM_CHANNEL_1;
	Solder.MaxPower 	= 95;
	Solder.T_Min		= 0;
	Solder.T_Max		= 450;

	Fen.htim 			= &htim14;
	Fen.Channel 		= TIM_CHANNEL_1;
	Fen.MaxPower 		= 30;
	Fen.T_Min			= 0;
	Fen.T_Max			= 450;
	Fen.T_FanOff		= 50;

	FenFan.htim 		= &htim1;
	FenFan.Channel 		= TIM_CHANNEL_2;
	FenFan.P_Min		= 25;
	FenFan.P_Max		= 100;

	FenFan.FanStep 		= FenFanPWM_T.Init.Period/100;

	ADCData.step = (float)3300/4095;

}

void test()
{
	switch(Station.WorkMod){
		case SolderMod:
			Solder.htim->Instance->CCR1 =Solder.T_Set;
			Solder.htim->Instance->CCR3 =Solder.T_Set +(Solder.htim->Init.Period - Solder.T_Set)/2;
			break;
		case FenMod:
			Fen.DimmerValue = Fen.T_Set;
			break;
		case FenFanMod:
			FenFan.htim->Instance->CCR2 = FenFan.P_Set * FenFan.FanStep;
			break;
		case SpecMod:

			break;

	}
}

void adc_to_t(){
	Srednie();
	Solder.T_Measured = ADCData.Ssolder * ADCData.step;
	Fen.T_Measured = ADCData.Sfen * ADCData.step;

//#define TEMP30_CAL_ADDR ((uint16_t*) ((uint32_t) 0x1FFFF7B8))
//#define VDD_CALIB ((uint32_t) (4095))
//#define VDD_APPLI ((uint32_t) (3300))
//#define AVG_SLOPE ((uint32_t) (5336)) //AVG_SLOPE in ADC conversion step
//(@3.3V)/°C multiplied by 1000 for precision on the division
//int32_t temperature; /* will contain the temperature in degrees Celsius */

 // AVG_SLOPE= 4.3mV/C
 // V30= 1.43V
//Station.CPUtemperature = ((uint32_t) *TEMP30_CAL_ADDR
//- ((uint32_t) ADCData.buffer[ADCData.bufferCaunt+2] * VDD_APPLI / VDD_CALIB)) * 1000;

//Station.CPUtemperature = ((uint32_t) *TEMP30_CAL_ADDR - ADCData.buffer[ADCData.bufferCaunt+2]*ADCData.step);
//Station.CPUtemperature = (Station.CPUtemperature / AVG_SLOPE) + 30;
	Station.CPUtemperature = (1325 - ADCData.buffer[ADCData.bufferCaunt+2]*ADCData.step)*1000;
	Station.CPUtemperature = (Station.CPUtemperature /4200) + 30;
///

}

void SetValue(int16_t Value){
	switch(Station.WorkMod){
		case SolderMod:
			Solder.T_Set += Value*100;
			if(Solder.T_Set <= Solder.T_Min) Solder.T_Set = Solder.T_Min;
			//if(Solder.T_Set >= Solder.T_Max) Solder.T_Set = Solder.T_Max;
			break;
		case FenMod:
			Fen.T_Set += Value*100;
			if(Fen.T_Set <= Fen.T_Min) Fen.T_Set = Fen.T_Min;
			//if(Fen.T_Set >= Fen.T_Max) Fen.T_Set = Fen.T_Max;
			break;
		case FenFanMod:
			FenFan.P_Set += Value;
			if(FenFan.P_Set <= FenFan.P_Min) FenFan.P_Set = FenFan.P_Min;
			if(FenFan.P_Set >= FenFan.P_Max) FenFan.P_Set = FenFan.P_Max;
			break;
		case SpecMod:
			SMtemp += Value;
			break;
	}
}

struct
{
	uint8_t		step;
	uint8_t		i;
}CalibrationData;

void ThermocoupleCalibration (){
	// вывести еккран преветствия
	//----------------------------//
	// выберете профель			  //
	//0.Fen		4.пусто		1	  //
	//1.Fen2?	5.пусто		1	  //
	//2.Solder	6.пусто		1	  //
	//3.пусто	7.пусто		1	  //
	//----------------------------//

	CalibrationData.step = 0;

		switch(CalibrationData.step){
		case 0:
			if(SMtemp > 8) SMtemp =8;
			if(SMtemp < 0) SMtemp =0;
			Profile = SMtemp;
			break;
		case 1:
			Srednie();
			ThermocoupleProfile[Profile].Nadc[0] = temp01();
			ThermocoupleProfile[Profile].Text[0] = SMtemp;

			break;
		case 3:
			if (CalibrationData.i ==0)
			{
				SMtemp = 100;
				CalibrationData.i++;
			}
			Solder.htim->Instance->CCR1 =SMtemp;
			Solder.htim->Instance->CCR3 =SMtemp +(Solder.htim->Init.Period - SMtemp)/2;
			break;
		case 4:
			if (CalibrationData.i ==0)
			{
				SMtemp = 50;
				CalibrationData.i++;
			}
			Srednie();
			ThermocoupleProfile[Profile].Nadc[0] = temp01();
			ThermocoupleProfile[Profile].Text[0] = SMtemp;
			break;
		case 5:
			if (CalibrationData.i ==0)
			{
				SMtemp = 200;
				CalibrationData.i++;
			}
			Solder.htim->Instance->CCR1 =SMtemp;
			Solder.htim->Instance->CCR3 =SMtemp +(Solder.htim->Init.Period - SMtemp)/2;
			break;
		case 6:
			if (CalibrationData.i ==0)
			{
				SMtemp = 100;
				CalibrationData.i++;
			}
			Srednie();
			ThermocoupleProfile[Profile].Nadc[0] = temp01();
			ThermocoupleProfile[Profile].Text[0] = SMtemp;
			break;

		}

}

uint16_t temp01(){
	if (Profile<2){
		if (ADCData.Sfen - ADCData.buffer[ADCData.bufferCaunt+1] < 15 && ADCData.buffer[ADCData.bufferCaunt+1]-ADCData.Sfen <15){
			return ADCData.buffer[ADCData.bufferCaunt+1];
		}
	}
	else{
		if (ADCData.Ssolder - ADCData.buffer[ADCData.bufferCaunt] < 15 && ADCData.buffer[ADCData.bufferCaunt]-ADCData.Ssolder <15){
			return ADCData.buffer[ADCData.bufferCaunt];
		}
	}
	return 0;
}

void Srednie(){
	ADCData.Ssolder = ADCData.buffer[0];
	ADCData.Sfen 	= ADCData.buffer[1];
	ADCData.Ssensor = ADCData.buffer[2];

	for (int i=3; i < sizeof(ADCData.buffer)/4; i+=3){
		ADCData.Ssolder += ADCData.buffer[i];
		ADCData.Sfen 	+= ADCData.buffer[i+1];
		ADCData.Ssensor += ADCData.buffer[i+2];
	}
	ADCData.Sfen 	/= sizeof(ADCData.buffer)/4/3;
	ADCData.Ssolder /= sizeof(ADCData.buffer)/4/3;
	ADCData.Ssensor /= sizeof(ADCData.buffer)/4/3;
}

void MoweDetect(){
	DispleiMod =1;
	Station.MoveDetect = 1;
	HAL_RTC_GetTime(&hrtc, &Point[2].sTime, RTC_FORMAT_BCD);
	HAL_RTC_GetDate(&hrtc, &Point[2].sDate, RTC_FORMAT_BCD);
}

void InactivityDetect (){
	if(Station.MoveDetect){
		HAL_RTC_GetTime(&hrtc, &Point[3].sTime, RTC_FORMAT_BCD);
		HAL_RTC_GetDate(&hrtc, &Point[3].sDate, RTC_FORMAT_BCD);

		if(Station.MoveDetect == 1){
			if (TimePointCompare(&Point[2], &Point[3]) >= 2){
				Station.MoveDetect = 2;
			}
		}
		if(Station.MoveDetect == 2){
			if (TimePointCompare(&Point[2], &Point[3]) >= 5){
				Station.MoveDetect = 3;
				DispleiMod =0;
			}
		}
		if(Station.MoveDetect == 3){
			if (TimePointCompare(&Point[2], &Point[3]) >= 60){
				Station.MoveDetect = 0;
				//slipp
			}

		}
	}
}

uint8_t PushButton(uint8_t workMod){
	if(Station.WorkMod != workMod) CountForButton = 0;
	if (CountForButton == 0) {
		HAL_RTC_GetTime(&hrtc, &Point[0].sTime, RTC_FORMAT_BCD);
		HAL_RTC_GetDate(&hrtc, &Point[0].sDate, RTC_FORMAT_BCD);
		CountForButton++;
		Station.WorkMod = workMod;
		return On;
	}else{
		HAL_RTC_GetTime(&hrtc, &Point[1].sTime, RTC_FORMAT_BCD);
		HAL_RTC_GetDate(&hrtc, &Point[1].sDate, RTC_FORMAT_BCD);
		if (TimePointCompare(&Point[0], &Point[1]) < 10){
			CountForButton = 0;
			return Off;
		} else {
			Station.WorkMod = workMod;
			HAL_RTC_GetTime(&hrtc, &Point[0].sTime, RTC_FORMAT_BCD);
			HAL_RTC_GetDate(&hrtc, &Point[0].sDate, RTC_FORMAT_BCD);
			return On;
		}
	}
}

void PID_Fen(){

}

void PID_Solder(){

}
void ErrorControl(){
	if(Fen.T_Measured >= Fen.T_Max){
		Fen.error = 1;
	}
//	if(Fen.htim->Instance->CCR1 >= (Fen.htim->Instance->ARR ) * Fen.MaxPower /100){	//Проверка на превкшение мощности
//		Fen.error = 1;
//	}

	if(Solder.htim->Instance->CCR1 >= (Solder.htim->Instance->ARR /100) * Solder.MaxPower){	//Проверка на превкшение мощности
		Solder.error = 1;
	}

	if(Solder.T_Measured >= Solder.T_Max){
		Solder.error = 1;
	}

	if (Fen.error){
		HAL_GPIO_WritePin(FenRelePort, FenRelePin, GPIO_PIN_RESET);
		Fen.DimerStatus = OFF;
		FanControl(FanSpeedMax);
		//ERROR msg
		//Sound alarm
	}
	if (FenFan.error){
		HAL_GPIO_WritePin(FenRelePort, FenRelePin, GPIO_PIN_RESET);
		Fen.DimerStatus = OFF;
		FanControl(OFF);
		//ERROR msg
		//Sound alarm
	}
	if (Solder.error){
		HAL_TIM_PWM_Stop_IT(&SolderPWM_T, SolderPWM_ch);
		//ERROR msg
		//Sound alarm
	}
}

void SolderControl(SolderTypeDef* solder){
	if(solder->Status == On && solder->error == 0){
		HAL_TIM_PWM_Start_IT(&SolderPWM_T, SolderPWM_ch);
	}
	else{
		//solder->Status = OFF;
		HAL_TIM_PWM_Stop_IT(&SolderPWM_T, SolderPWM_ch);
	}
}

void Gerkon_Handler(){
	if ((Station.IE & Gerkon_IE) && Fen.Status  ){
		Fen.GerkonStatus = HAL_GPIO_ReadPin(Gerkon_Port, Gerkon_Pin);
		Fen.Status = Fen.GerkonStatus;
		DimmerControl(&Fen);
	}
}

void DimmerControl(ChannelTypeDef* ChStrct)
{
	if(ChStrct->Status == On && ChStrct->error == 0)
	{
		ChStrct->DimerStatus = ON;
		FanControl(On);
		HAL_GPIO_WritePin(FenRelePort, FenRelePin, GPIO_PIN_SET);
		HAL_TIM_OnePulse_Start_IT(&DimmerTim, DimmerTimCh);

	}
	else
	{
		//Fen.Status = OFF;
		ChStrct->DimerStatus = OFF;
		HAL_GPIO_WritePin(FenRelePort, FenRelePin, GPIO_PIN_RESET);
	}
}

// peredelat ?
void FanControl(uint8_t status)
{
	if (status == FanSpeedMax){
		FenFanPWM_T.Instance->CCR2 = FenFanPWM_T.Instance->ARR;
		HAL_TIM_PWM_Start(&FenFanPWM_T, FenFanPWM_ch);
	}else if(status == Off){
		if(debug){													//проверка температуры
			HAL_TIM_PWM_Stop(&FenFanPWM_T, FenFanPWM_ch);
		}
	}
	else
	{
		FenFanPWM_T.Instance->CCR2 = FenFan.P_Set;
		HAL_TIM_PWM_Start(&FenFanPWM_T, FenFanPWM_ch);
	}
}

void ZCD_Handler()
{
	if(Fen.DimerStatus == On && Fen.error == 0){
		Fen.htim->Instance->CR1 |= TIM_CR1_CEN;		//Timer Start

		//Zcd ++;
/*      switch (mode){
		  case 0:
			TIM14->CR1 |= TIM_CR1_CEN;
			Zcd = 0;
			break;
		  case 1:
			if(Zcd == 2){
			  TIM14->CR1 |= TIM_CR1_CEN;
			  Zcd = 0;
			}
			break;
		  case 2:
			if(Zcd == 3){
			  TIM14->CR1 |= TIM_CR1_CEN;
			  Zcd = 0;
			}
			break;
		  case 3:
			TIM14->CR1 |= TIM_CR1_CEN;
			break;
		  default :
			Zcd = 0;
			break;
		  }*/
	}

}

void HAL_GPIO_EXTI_Callback(uint16_t GPIO_Pin){
	if (Station.WorkMod != SpecMod){
		switch (GPIO_Pin){
			case RollBall_Pin:
				if( Solder.Status && (Station.IE & RollBall_IE)){
					Solder.Status = ON;
					SolderControl(&Solder);
					MoweDetect();
				}
				break;
			case ZCD_Pin:		// GPIO_PIN_3://ZCD
				ZCD_Handler();
				break;
			case EncoderButton_Pin:
				EncoderButton_Handler(&enc0, &hrtc);
				MoweDetect();
				break;
			case Gerkon_Pin:
				Gerkon_Handler();
				MoweDetect();
				break;
			case Button1_Pin:
				Solder.Status = PushButton(SolderMod);
				SolderControl(&Solder);
				MoweDetect();
				break;
			case Button2_Pin:
				Fen.Status = PushButton(FenMod);
				DimmerControl(&Fen);
				MoweDetect();
				break;
			case Button3_Pin:
				FenFan.Status = PushButton(FenFanMod);
				FanControl(FenFan.Status);					// peredelat // not off in this place
				MoweDetect();
				break;
		}
	}else
	{
		switch (GPIO_Pin){
			case RollBall_Pin:
				MoweDetect();
				break;
			case ZCD_Pin:
				ZCD_Handler();
				break;
			case EncoderButton_Pin:
				CalibrationData.step++;
				CalibrationData.i = 0;
				MoweDetect();
				break;
			case Gerkon_Pin:
				MoweDetect();
				break;
			case Button1_Pin:
				MoweDetect();
				break;
			case Button2_Pin:
				MoweDetect();
				break;
			case Button3_Pin:
				MoweDetect();
				break;
		}
	}
}

void HAL_TIM_PWM_PulseFinishedCallback(TIM_HandleTypeDef *htim){
  if(htim == Fen.htim){
	  htim->Instance->ARR = Fen.DimmerValue+50;
	  htim->Instance->CCR1 = Fen.DimmerValue;
	  htim->Instance->EGR |= TIM_EGR_UG;			// Reinitialize the counter and generates an update of the registers.
  }
  if(htim == Solder.htim){
	  if(htim->Channel == HAL_TIM_ACTIVE_CHANNEL_3)
	  {
//		  if(i>=256) i =0;
//		  tempArr[i]= adc_value[1];
//		  i++;
		  ADCData.bufferCaunt +=3;
		  if (ADCData.bufferCaunt >= 30) ADCData.bufferCaunt = 0;
		  HAL_ADC_Start_DMA(&hadc, (uint32_t*)&ADCData.buffer[ADCData.bufferCaunt], 3);
//		  HAL_ADC_Start(&hadc);
//		  HAL_ADC_PollForConversion(&hadc, 50);
//		  adc_value[0] = HAL_ADC_GetValue(&hadc);

	  }
  }

}

/* USER CODE END 4 */

void Error_Handler(void)
{
}

/************************ (C) COPYRIGHT STMicroelectronics *****END OF FILE****/
